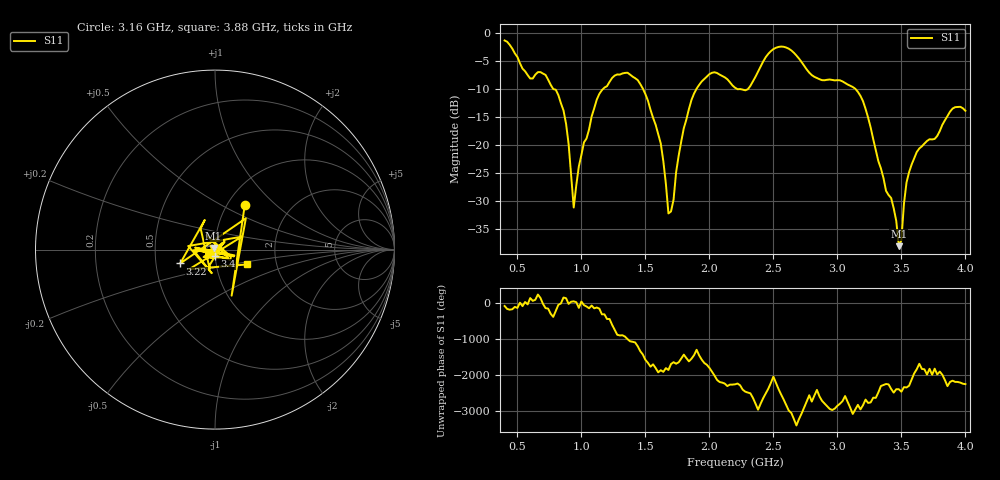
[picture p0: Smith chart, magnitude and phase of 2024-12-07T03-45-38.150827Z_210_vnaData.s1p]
!Created with skrf (http://scikit-rf.org).
# Hz S RI R 50.0
!freq ReS11 ImS11
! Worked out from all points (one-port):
!   181 points, 400 MHz to 4 GHz, reference 50 ohm
!   lowest |S11| = -38.1 dB at 3.48 GHz (marker M1), VSWR 1.03, Z = 49.2 + j0.932 ohm
!   |S11| at or under -10 dB: 778.3 MHz to 1.171 GHz (393.1 MHz wide, 40.3 % of centre); 1.48 GHz to 1.9 GHz (419.5 MHz wide, 24.8 % of centre); 3.139 GHz to end of sweep (the widest 3 of 4)
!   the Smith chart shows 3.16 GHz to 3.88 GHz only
!   S11 on the Smith chart (normalised r, x): 3.16 GHz: 1.21, +0.65; 3.22 GHz: 0.67, -0.11; 3.4 GHz: 0.99, -0.07; 3.88 GHz: 1.41, -0.24
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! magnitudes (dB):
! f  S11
! 400 MHz  -1.4
! 600 MHz  -8.2
! 720 MHz  -7.5
! 860 MHz  -13.9
! 900 MHz  -19.9
! 940 MHz  -31.2
! 1.02 GHz  -19.6
! 1.12 GHz  -11.9
! 1.3 GHz  -7.5
! 1.52 GHz  -12.1
! 1.62 GHz  -19.8
! 1.68 GHz  -32.2
! 1.72 GHz  -29.8
! 1.76 GHz  -21.9
! 1.86 GHz  -12.0
! 1.94 GHz  -8.7
! 2.2 GHz  -9.8
! 2.3 GHz  -10.1
! 2.5 GHz  -2.9
! 2.66 GHz  -3.6
! 3.1 GHz  -9.5
! 3.16 GHz  -10.6
! 3.22 GHz  -13.6
! 3.4 GHz  -29.0
! 3.48 GHz  -38.1
! 3.56 GHz  -24.9
! 3.88 GHz  -14.1
! 4 GHz  -13.9
